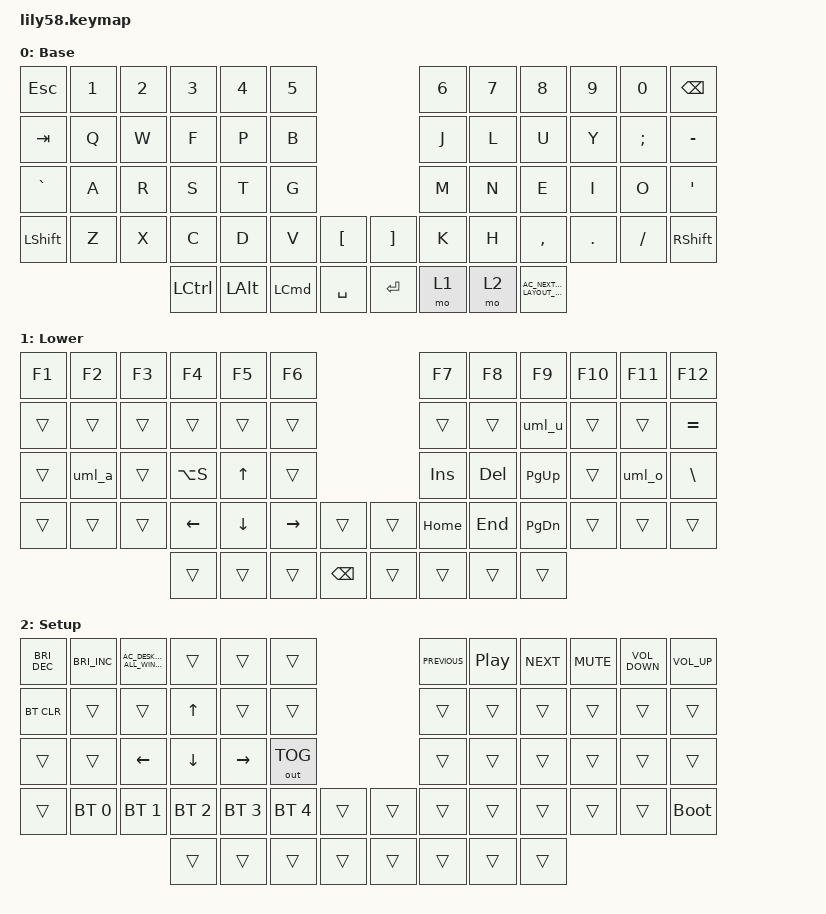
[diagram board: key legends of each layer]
/*
 * Copyright (c) 2020 The ZMK Contributors
 *
 * SPDX-License-Identifier: MIT
 */

#include <behaviors.dtsi>
#include <dt-bindings/zmk/bt.h>
#include <dt-bindings/zmk/keys.h>
#include <dt-bindings/zmk/outputs.h>

/ {
    macros {
        ae_lc: ae_lc {
            compatible = "zmk,behavior-macro";
            #binding-cells = <0>;
            wait-ms = <20>;
            tap-ms = <20>;
            bindings = <&macro_press &kp LALT>, <&macro_tap &kp U>, <&macro_release &kp LALT>, <&macro_tap &kp A>;
        };
        ae_uc: ae_uc {
            compatible = "zmk,behavior-macro";
            #binding-cells = <0>;
            wait-ms = <20>;
            tap-ms = <20>;
            bindings = <&macro_press &kp LALT>, <&macro_tap &kp U>, <&macro_release &kp LALT>, <&macro_tap &kp LS(A)>;
        };
        oe_lc: oe_lc {
            compatible = "zmk,behavior-macro";
            #binding-cells = <0>;
            wait-ms = <20>;
            tap-ms = <20>;
            bindings = <&macro_press &kp LALT>, <&macro_tap &kp U>, <&macro_release &kp LALT>, <&macro_tap &kp O>;
        };
        oe_uc: oe_uc {
            compatible = "zmk,behavior-macro";
            #binding-cells = <0>;
            wait-ms = <20>;
            tap-ms = <20>;
            bindings = <&macro_press &kp LALT>, <&macro_tap &kp U>, <&macro_release &kp LALT>, <&macro_tap &kp LS(O)>;
        };
        ue_lc: ue_lc {
            compatible = "zmk,behavior-macro";
            #binding-cells = <0>;
            wait-ms = <20>;
            tap-ms = <20>;
            bindings = <&macro_press &kp LALT>, <&macro_tap &kp U>, <&macro_release &kp LALT>, <&macro_tap &kp U>;
        };
        ue_uc: ue_uc {
            compatible = "zmk,behavior-macro";
            #binding-cells = <0>;
            wait-ms = <20>;
            tap-ms = <20>;
            bindings = <&macro_press &kp LALT>, <&macro_tap &kp U>, <&macro_release &kp LALT>, <&macro_tap &kp LS(U)>;
        };
    };

    behaviors {
        homerow_shift: homerow_shift {
            compatible = "zmk,behavior-hold-tap";
            label = "HOMEROW_SHIFT";
            bindings = <&kp>, <&kp>;
            #binding-cells = <2>;
            tapping-term-ms = <150>;
            flavor = "tap-preferred";
            quick-tap-ms = <0>;
        };

        uml_a: uml_a {
            compatible = "zmk,behavior-mod-morph";
            #binding-cells = <0>;
            bindings = <&ae_lc>, <&ae_uc>;
            mods = <(MOD_LSFT|MOD_RSFT)>;
            keep-mods = <0>;
        };
        uml_o: uml_o {
            compatible = "zmk,behavior-mod-morph";
            #binding-cells = <0>;
            bindings = <&oe_lc>, <&oe_uc>;
            mods = <(MOD_LSFT|MOD_RSFT)>;
            keep-mods = <0>;
        };
        uml_u: uml_u {
            compatible = "zmk,behavior-mod-morph";
            #binding-cells = <0>;
            bindings = <&ue_lc>, <&ue_uc>;
            mods = <(MOD_LSFT|MOD_RSFT)>;
            keep-mods = <0>;
        };
    };

    keymap {
        compatible = "zmk,keymap";

        default_layer {
            // ------------------------------------------------------------------------------------------------------------
            // |  ESC  |  1  |  2  |  3   |  4   |  5   |                   |  6   |  7    |  8    |  9   |   0   |   `   |
            // |  TAB  |  Q  |  W  |  E   |  R   |  T   |                   |  Y   |  U    |  I    |  O   |   P   |   -   |
            // |  CTRL |  A  |  S  |  D   |  F   |  G   |                   |  H   |  J    |  K    |  L   |   ;   |   '   |
            // | SHIFT |  Z  |  X  |  C   |  V   |  B   |   "["  |  |  "]"  |  N   |  M    |  ,    |  .   |   /   | SHIFT |
            //                     | ALT  | GUI  | LOWER|  SPACE |  | ENTER | RAISE| BSPC  | GUI   |

            display-name = "Base";
            bindings = <
&kp ESCAPE      &kp N1  &kp N2  &kp N3            &kp N4        &kp N5                                   &kp N6  &kp N7  &kp N8                                &kp N9   &kp N0         &kp BACKSPACE
&kp TAB         &kp Q   &kp W   &kp F             &kp P         &kp B                                    &kp J   &kp L   &kp U                                 &kp Y    &kp SEMICOLON  &kp MINUS
&kp GRAVE       &kp A   &kp R   &kp S             &kp T         &kp G                                    &kp M   &kp N   &kp E                                 &kp I    &kp O          &kp SQT
&kp LEFT_SHIFT  &kp Z   &kp X   &kp C             &kp D         &kp V             &kp LBKT     &kp RBKT  &kp K   &kp H   &kp COMMA                             &kp DOT  &kp FSLH       &kp RIGHT_SHIFT
                                &kp LEFT_CONTROL  &kp LEFT_ALT  &kp LEFT_COMMAND  &kp SPACE    &kp RET   &mo 1   &mo 2   &kp C_AC_NEXT_KEYBOARD_LAYOUT_SELECT
            >;
        };

        Lower {
            // ------------------------------------------------------------------------------------------------------------
            // | BTCLR | BT1 | BT2 |  BT3 |  BT4 |  BT5 |                   |      |       |       |      |       |       |
            // |  F1   |  F2 |  F3 |  F4  |  F5  |  F6  |                   |  F7  |  F8   |  F9   |  F10 |  F11  |  F12  |
            // |   `   |  !  |  @  |  #   |  $   |  %   |                   |  ^   |  &    |  *    |  (   |   )   |   ~   |
            // |       |     |     |      |      |      |        |  |       |      |  _    |  +    |  {   |   }   |  "|"  |
            //                     |      |      |      |        |  |       |      |       |       |

            display-name = "Lower";
            bindings = <
&kp F1  &kp F2  &kp F3  &kp F4          &kp F5          &kp F6                                    &kp F7      &kp F8   &kp F9         &kp F10  &kp F11  &kp F12
&trans  &trans  &trans  &trans          &trans          &trans                                    &trans      &trans   &uml_u         &trans   &trans   &kp EQUAL
&trans  &uml_a  &trans  &kp LA(S)       &kp UP_ARROW    &trans                                    &kp INSERT  &kp DEL  &kp PAGE_UP    &trans   &uml_o   &kp BACKSLASH
&trans  &trans  &trans  &kp LEFT_ARROW  &kp DOWN_ARROW  &kp RIGHT_ARROW  &trans           &trans  &kp HOME    &kp END  &kp PAGE_DOWN  &trans   &trans   &trans
                        &trans          &trans          &trans           &kp BACKSPACE    &trans  &trans      &trans   &trans
            >;
        };

        Setup {
            bindings = <
&kp C_BRIGHTNESS_DEC  &kp C_BRIGHTNESS_INC  &kp C_AC_DESKTOP_SHOW_ALL_WINDOWS  &trans          &trans           &trans                          &kp C_PREVIOUS  &kp C_PLAY_PAUSE  &kp C_NEXT  &kp C_MUTE  &kp C_VOLUME_DOWN  &kp C_VOLUME_UP
&bt BT_CLR            &trans                &trans                             &kp UP_ARROW    &trans           &trans                          &trans          &trans            &trans      &trans      &trans             &trans
&trans                &trans                &kp LEFT_ARROW                     &kp DOWN_ARROW  &kp RIGHT_ARROW  &out OUT_TOG                    &trans          &trans            &trans      &trans      &trans             &trans
&trans                &bt BT_SEL 0          &bt BT_SEL 1                       &bt BT_SEL 2    &bt BT_SEL 3     &bt BT_SEL 4  &trans    &trans  &trans          &trans            &trans      &trans      &trans             &bootloader
                                                                               &trans          &trans           &trans        &trans    &trans  &trans          &trans            &trans
            >;

            label = "Setup";
        };
    };
};
